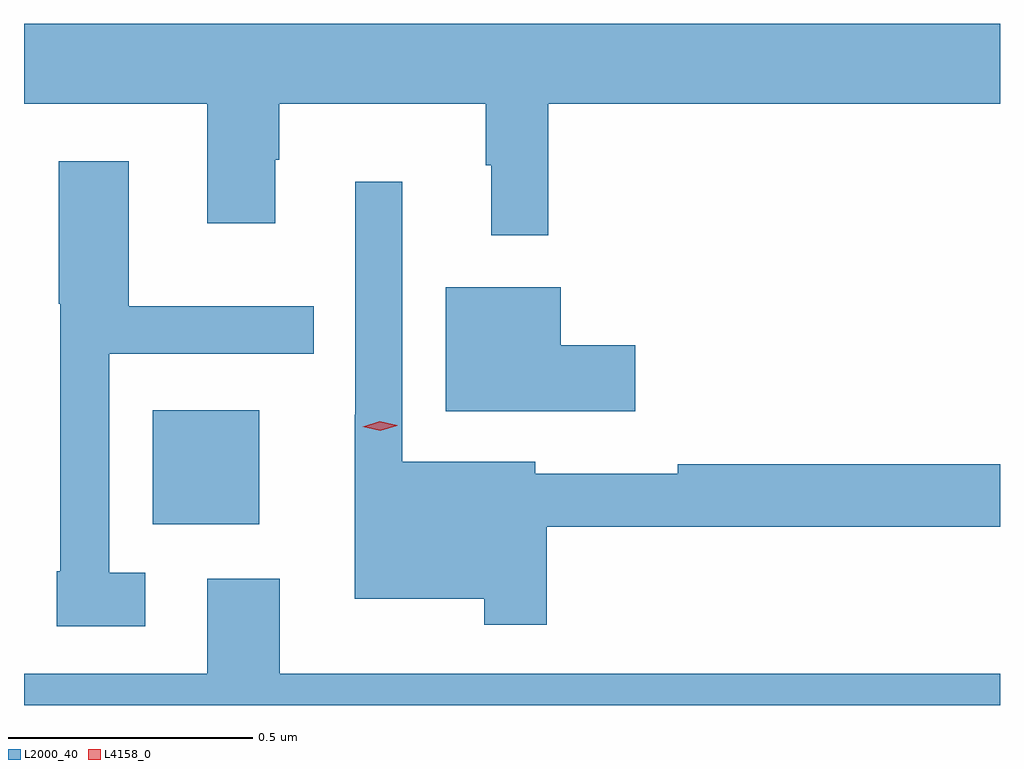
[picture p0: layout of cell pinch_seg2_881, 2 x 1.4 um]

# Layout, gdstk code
import gdstk
lib = gdstk.Library(unit=1e-6, precision=1e-09)
def R(c, l, rs):  # rectangles x0, y0, x1, y1
    for r in rs: c.add(gdstk.rectangle(r[:2], r[2:], *l))
def P(c, l, *ps):  # polygons
    for p in ps: c.add(gdstk.Polygon(p, *l))
L2000_40 = (2000, 40)
L4158_0 = (4158, 0)

pinch_seg2_881 = lib.new_cell('pinch_seg2_881')
R(pinch_seg2_881, L2000_40, [(555.596,584.171,555.814,584.404)])
P(pinch_seg2_881, L2000_40, [(556.406,585.032),(557.332,585.032),(557.332,585.196),(555.332,585.196),(555.332,585.032),(555.707,585.032),(555.707,584.787),(555.847,584.787),(555.847,584.918),(555.855,584.918),(555.855,585.032),(556.278,585.032),(556.278,584.906),(556.289,584.906),(556.289,584.763),(556.406,584.763)],
  [(555.58,584.071),(555.507,584.071),(555.507,584.52),(555.926,584.52),(555.926,584.617),(555.547,584.617),(555.547,584.914),(555.403,584.914),(555.403,584.623),(555.406,584.623),(555.406,584.074),(555.399,584.074),(555.399,583.962),(555.58,583.962)],
  [(556.403,584.166),(557.332,584.166),(557.332,584.294),(556.672,584.294),(556.672,584.274),(556.38,584.274),(556.38,584.299),(556.107,584.299),(556.107,584.872),(556.011,584.872),(556.011,584.395),(556.01,584.395),(556.01,584.018),(556.275,584.018),(556.275,583.965),(556.403,583.965)],
  [(556.585,584.537),(556.432,584.537),(556.432,584.656),(556.196,584.656),(556.196,584.402),(556.585,584.402)],
  [(557.332,583.864),(555.856,583.864),(555.856,584.059),(555.707,584.059),(555.707,583.864),(555.332,583.864),(555.332,583.8),(557.332,583.8)])
P(pinch_seg2_881, L4158_0, [(556.062,584.362),(556.026,584.37),(556.025,584.37),(556.026,584.37),(556.061,584.382),(556.097,584.374),(556.097,584.373),(556.097,584.373)])

lib.write_gds('pinch_seg2_881.gds')
